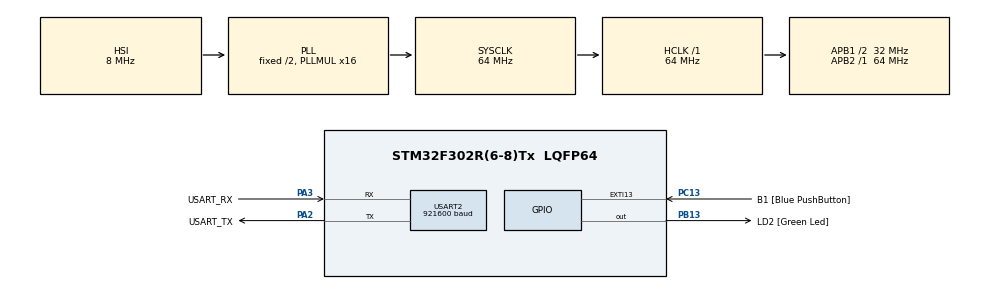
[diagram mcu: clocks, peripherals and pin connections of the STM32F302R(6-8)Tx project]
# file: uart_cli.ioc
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Dma.Request0=USART2_TX
Dma.USART2_TX.0.Direction=DMA_MEMORY_TO_PERIPH
Dma.USART2_TX.0.Instance=DMA1_Channel7
Dma.USART2_TX.0.MemDataAlignment=DMA_MDATAALIGN_BYTE
Dma.USART2_TX.0.MemInc=DMA_MINC_ENABLE
Dma.USART2_TX.0.Mode=DMA_NORMAL
Dma.USART2_TX.0.PeriphDataAlignment=DMA_PDATAALIGN_BYTE
Dma.USART2_TX.0.PeriphInc=DMA_PINC_DISABLE
Dma.USART2_TX.0.Priority=DMA_PRIORITY_LOW
Mcu.Family=STM32F3
Mcu.Name=STM32F302R(6-8)Tx
Mcu.Package=LQFP64
NVIC.DMA1_Channel7_IRQn=true\:0\:0\:false\:false\:true\:false\:true
NVIC.PriorityGroup=NVIC_PRIORITYGROUP_0
NVIC.USART2_IRQn=true\:0\:0\:false\:false\:true\:true\:true
PA13.GPIO_Label=TMS
PA13.Mode=Serial_Wire
PA13.Signal=SYS_JTMS-SWDIO
PA14.GPIO_Label=TCK
PA14.Mode=Serial_Wire
PA14.Signal=SYS_JTCK-SWCLK
PA2.GPIO_Label=USART_TX
PA2.GPIO_Mode=GPIO_MODE_AF_PP
PA2.GPIO_PuPd=GPIO_NOPULL
PA2.GPIO_Speed=GPIO_SPEED_FREQ_LOW
PA2.Mode=Asynchronous
PA2.Signal=USART2_TX
PA3.GPIO_Label=USART_RX
PA3.GPIO_Mode=GPIO_MODE_AF_PP
PA3.GPIO_PuPd=GPIO_NOPULL
PA3.GPIO_Speed=GPIO_SPEED_FREQ_LOW
PA3.Mode=Asynchronous
PA3.Signal=USART2_RX
PB13.GPIO_Label=LD2 [Green Led]
PB13.Signal=GPIO_Output
PC13.GPIO_Label=B1 [Blue PushButton]
PC13.GPIO_ModeDefaultEXTI=GPIO_MODE_IT_FALLING
PC13.Signal=GPXTI13
PC14\ -\ OSC32_IN.Mode=LSE-External-Oscillator
PC14\ -\ OSC32_IN.Signal=RCC_OSC32_IN
PC15\ -\ OSC32_OUT.Mode=LSE-External-Oscillator
PC15\ -\ OSC32_OUT.Signal=RCC_OSC32_OUT
PF0-OSC_IN.Mode=HSE-External-Clock-Source
PF0-OSC_IN.Signal=RCC_OSC_IN
PF1-OSC_OUT.Signal=RCC_OSC_OUT
ProjectManager.HeapSize=0x200
ProjectManager.StackSize=0x400
ProjectManager.TargetToolchain=STM32CubeIDE
RCC.AHBFreq_Value=64000000
RCC.APB1CLKDivider=RCC_HCLK_DIV2
RCC.APB1Freq_Value=32000000
RCC.APB1TimFreq_Value=64000000
RCC.APB2Freq_Value=64000000
RCC.APB2TimFreq_Value=64000000
RCC.CortexFreq_Value=64000000
RCC.HCLKFreq_Value=64000000
RCC.HSE_VALUE=8000000
RCC.HSI_VALUE=8000000
RCC.PLLM=8
RCC.PLLMUL=RCC_PLL_MUL16
RCC.PLLN=336
RCC.PLLP=RCC_PLLP_DIV4
RCC.PLLQ=7
RCC.RCC_PLLsource_Clock_Source_FROM_HSE=RCC_HSE_PREDIV_DIV2
RCC.SYSCLKFreq_VALUE=64000000
RCC.SYSCLKSourceVirtual=RCC_SYSCLKSOURCE_PLLCLK
RCC.USBFreq_Value=64000000
USART2.BaudRate=921600
USART2.VirtualMode-Asynchronous=VM_ASYNC
board=NUCLEO-F302R8

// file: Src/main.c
/* USER CODE BEGIN Header */
/**
  ******************************************************************************
  * @file           : main.c
  * @brief          : Main program body
  ******************************************************************************
  * @attention
  *
  * <h2><center>&copy; Copyright (c) 2021 STMicroelectronics.
  * All rights reserved.</center></h2>
  *
  * This software component is licensed by ST under BSD 3-Clause license,
  * the "License"; You may not use this file except in compliance with the
  * License. You may obtain a copy of the License at:
  *                        opensource.org/licenses/BSD-3-Clause
  *
  ******************************************************************************
  */
/* USER CODE END Header */
#include "main.h"
#include "dma.h"
#include "usart.h"
#include "gpio.h"

/* USER CODE BEGIN Includes */
#include <string.h>
#include <stdio.h>
#include "uart_cli.h"
/* USER CODE END Includes */

/* USER CODE BEGIN PD */
#define NUM_LOG_FIELDS                  3
/* USER CODE END PD */

void SystemClock_Config(void);

int main(void)
{

  /* MCU Configuration--------------------------------------------------------*/

  /* Reset of all peripherals, Initializes the Flash interface and the Systick. */
  HAL_Init();

  /* Configure the system clock */
  SystemClock_Config();

  /* Initialize all configured peripherals */
  MX_GPIO_Init();
  MX_DMA_Init();
  MX_USART2_UART_Init();
  /* USER CODE BEGIN 2 */

  struct Log {
      uint32_t time;
      uint8_t temp;
      char char_tab[10];
  };

  static struct Log log = {
      .time = 50,
      .temp = 23,
      .char_tab = "abc defgh\0"
  };

  struct CLI_field_descriptor log_cli_desc[NUM_LOG_FIELDS] = {
          {
              .cli_tag = "log: time",
              .size = sizeof(uint32_t),
              .type = CLI_FIELD_UINT32,
              .num_elements = 1
          },

          {
              .cli_tag = "log: temperature",
              .size = sizeof(uint8_t),
              .type = CLI_FIELD_UINT8,
              .num_elements = 1
          },

          {
              .cli_tag = "log: char table",
              .size = sizeof(uint8_t),
              .type = CLI_FIELD_CHAR,
              .num_elements = 10
          }
  };

  CLI_Init(&huart2, &log, log_cli_desc, NUM_LOG_FIELDS);

  /* USER CODE END 2 */

  /* Infinite loop */
  /* USER CODE BEGIN WHILE */
  while (1)
  {
      log.temp++;
      log.time = HAL_GetTick();
    /* USER CODE END WHILE */

  }
}

void SystemClock_Config(void)
{
  RCC_OscInitTypeDef RCC_OscInitStruct = {0};
  RCC_ClkInitTypeDef RCC_ClkInitStruct = {0};

  /** Initializes the RCC Oscillators according to the specified parameters
  * in the RCC_OscInitTypeDef structure.
  */
  RCC_OscInitStruct.OscillatorType = RCC_OSCILLATORTYPE_HSI;
  RCC_OscInitStruct.HSIState = RCC_HSI_ON;
  RCC_OscInitStruct.HSICalibrationValue = RCC_HSICALIBRATION_DEFAULT;
  RCC_OscInitStruct.PLL.PLLState = RCC_PLL_ON;
  RCC_OscInitStruct.PLL.PLLSource = RCC_PLLSOURCE_HSI;
  RCC_OscInitStruct.PLL.PLLMUL = RCC_PLL_MUL16;
  if (HAL_RCC_OscConfig(&RCC_OscInitStruct) != HAL_OK)
  {
    Error_Handler();
  }
  /** Initializes the CPU, AHB and APB buses clocks
  */
  RCC_ClkInitStruct.ClockType = RCC_CLOCKTYPE_HCLK|RCC_CLOCKTYPE_SYSCLK
                              |RCC_CLOCKTYPE_PCLK1|RCC_CLOCKTYPE_PCLK2;
  RCC_ClkInitStruct.SYSCLKSource = RCC_SYSCLKSOURCE_PLLCLK;
  RCC_ClkInitStruct.AHBCLKDivider = RCC_SYSCLK_DIV1;
  RCC_ClkInitStruct.APB1CLKDivider = RCC_HCLK_DIV2;
  RCC_ClkInitStruct.APB2CLKDivider = RCC_HCLK_DIV1;

  if (HAL_RCC_ClockConfig(&RCC_ClkInitStruct, FLASH_LATENCY_2) != HAL_OK)
  {
    Error_Handler();
  }
}

void Error_Handler(void)
{
  __disable_irq();
  while (1)
  {
  }
}

/************************ (C) COPYRIGHT STMicroelectronics *****END OF FILE****/
